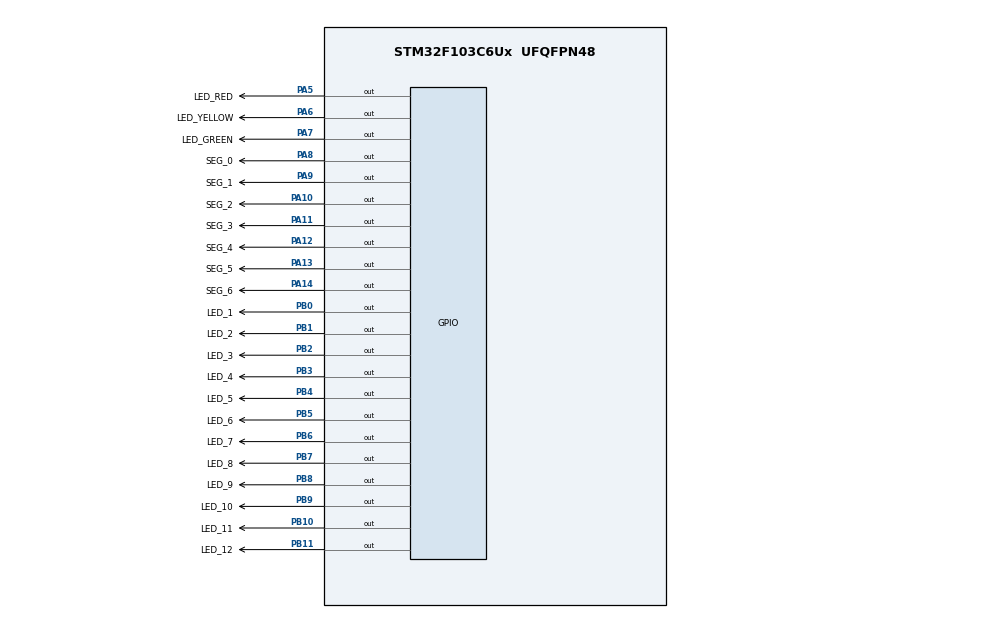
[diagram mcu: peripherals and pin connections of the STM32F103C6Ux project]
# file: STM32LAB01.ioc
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Mcu.Family=STM32F1
Mcu.Name=STM32F103C6Ux
Mcu.Package=UFQFPN48
NVIC.PriorityGroup=NVIC_PRIORITYGROUP_4
PA10.GPIO_Label=SEG_2
PA10.Signal=GPIO_Output
PA11.GPIO_Label=SEG_3
PA11.Signal=GPIO_Output
PA12.GPIO_Label=SEG_4
PA12.Signal=GPIO_Output
PA13.GPIO_Label=SEG_5
PA13.Signal=GPIO_Output
PA14.GPIO_Label=SEG_6
PA14.Signal=GPIO_Output
PA5.GPIO_Label=LED_RED
PA5.Signal=GPIO_Output
PA6.GPIO_Label=LED_YELLOW
PA6.Signal=GPIO_Output
PA7.GPIO_Label=LED_GREEN
PA7.Signal=GPIO_Output
PA8.GPIO_Label=SEG_0
PA8.Signal=GPIO_Output
PA9.GPIO_Label=SEG_1
PA9.Signal=GPIO_Output
PB0.GPIO_Label=LED_1
PB0.Signal=GPIO_Output
PB1.GPIO_Label=LED_2
PB1.Signal=GPIO_Output
PB10.GPIO_Label=LED_11
PB10.Signal=GPIO_Output
PB11.GPIO_Label=LED_12
PB11.Signal=GPIO_Output
PB2.GPIO_Label=LED_3
PB2.Signal=GPIO_Output
PB3.GPIO_Label=LED_4
PB3.Signal=GPIO_Output
PB4.GPIO_Label=LED_5
PB4.Signal=GPIO_Output
PB5.GPIO_Label=LED_6
PB5.Signal=GPIO_Output
PB6.GPIO_Label=LED_7
PB6.Signal=GPIO_Output
PB7.GPIO_Label=LED_8
PB7.Signal=GPIO_Output
PB8.GPIO_Label=LED_9
PB8.Signal=GPIO_Output
PB9.GPIO_Label=LED_10
PB9.Signal=GPIO_Output
ProjectManager.HeapSize=0x200
ProjectManager.StackSize=0x400
ProjectManager.TargetToolchain=STM32CubeIDE
RCC.APB1Freq_Value=8000000
RCC.APB2Freq_Value=8000000
VP_SYS_VS_ND.Mode=No_Debug
board=custom

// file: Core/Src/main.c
/* USER CODE BEGIN Header */
/**
  ******************************************************************************
  * @file           : main.c
  * @brief          : Main program body
  ******************************************************************************
  * @attention
  *
  * <h2><center>&copy; Copyright (c) 2024 STMicroelectronics.
  * All rights reserved.</center></h2>
  *
  * This software component is licensed by ST under BSD 3-Clause license,
  * the "License"; You may not use this file except in compliance with the
  * License. You may obtain a copy of the License at:
  *                        opensource.org/licenses/BSD-3-Clause
  *
  ******************************************************************************
  */
/* USER CODE END Header */
#include "main.h"
#include "EX8.h"

void SystemClock_Config(void);
static void MX_GPIO_Init(void);

/* USER CODE BEGIN 0 */
int counter = 0;
int num = 0;
/* USER CODE END 0 */

int main(void)
{

  /* MCU Configuration--------------------------------------------------------*/

  /* Reset of all peripherals, Initializes the Flash interface and the Systick. */
  HAL_Init();

  /* Configure the system clock */
  SystemClock_Config();

  /* Initialize all configured peripherals */
  MX_GPIO_Init();
  /* USER CODE BEGIN 2 */
  HAL_GPIO_WritePin(GPIOB, GPIO_PIN_0, RESET);		//D1
  HAL_GPIO_WritePin(GPIOB, GPIO_PIN_1, RESET);		//V1
  HAL_GPIO_WritePin(GPIOB, GPIO_PIN_2, RESET);		//X1

  HAL_GPIO_WritePin(GPIOB, GPIO_PIN_6, RESET);		//D2
  HAL_GPIO_WritePin(GPIOB, GPIO_PIN_7, RESET);		//V2
  HAL_GPIO_WritePin(GPIOB, GPIO_PIN_8, RESET);		//X2

  HAL_GPIO_WritePin(GPIOB, GPIO_PIN_3, RESET);		//D2
  HAL_GPIO_WritePin(GPIOB, GPIO_PIN_4, RESET);		//V2
  HAL_GPIO_WritePin(GPIOB, GPIO_PIN_5, RESET);		//X2

  HAL_GPIO_WritePin(GPIOB, GPIO_PIN_9, RESET);		//D1
  HAL_GPIO_WritePin(GPIOB, GPIO_PIN_10, RESET);		//V1
  HAL_GPIO_WritePin(GPIOB, GPIO_PIN_11, RESET);		//X1

  /* USER CODE END 2 */

  /* Infinite loop */
  /* USER CODE BEGIN WHILE */
  while (1)
  {
	  clearNumberOnClock(num);

    /* USER CODE END WHILE */

  }
}

void SystemClock_Config(void)
{
  RCC_OscInitTypeDef RCC_OscInitStruct = {0};
  RCC_ClkInitTypeDef RCC_ClkInitStruct = {0};

  /** Initializes the RCC Oscillators according to the specified parameters
  * in the RCC_OscInitTypeDef structure.
  */
  RCC_OscInitStruct.OscillatorType = RCC_OSCILLATORTYPE_HSI;
  RCC_OscInitStruct.HSIState = RCC_HSI_ON;
  RCC_OscInitStruct.HSICalibrationValue = RCC_HSICALIBRATION_DEFAULT;
  RCC_OscInitStruct.PLL.PLLState = RCC_PLL_NONE;
  if (HAL_RCC_OscConfig(&RCC_OscInitStruct) != HAL_OK)
  {
    Error_Handler();
  }
  /** Initializes the CPU, AHB and APB buses clocks
  */
  RCC_ClkInitStruct.ClockType = RCC_CLOCKTYPE_HCLK|RCC_CLOCKTYPE_SYSCLK
                              |RCC_CLOCKTYPE_PCLK1|RCC_CLOCKTYPE_PCLK2;
  RCC_ClkInitStruct.SYSCLKSource = RCC_SYSCLKSOURCE_HSI;
  RCC_ClkInitStruct.AHBCLKDivider = RCC_SYSCLK_DIV1;
  RCC_ClkInitStruct.APB1CLKDivider = RCC_HCLK_DIV1;
  RCC_ClkInitStruct.APB2CLKDivider = RCC_HCLK_DIV1;

  if (HAL_RCC_ClockConfig(&RCC_ClkInitStruct, FLASH_LATENCY_0) != HAL_OK)
  {
    Error_Handler();
  }
}

static void MX_GPIO_Init(void)
{
  GPIO_InitTypeDef GPIO_InitStruct = {0};

  /* GPIO Ports Clock Enable */
  __HAL_RCC_GPIOA_CLK_ENABLE();
  __HAL_RCC_GPIOB_CLK_ENABLE();

  /*Configure GPIO pin Output Level */
  HAL_GPIO_WritePin(GPIOA, LED_RED_Pin|LED_YELLOW_Pin|LED_GREEN_Pin|SEG_0_Pin
                          |SEG_1_Pin|SEG_2_Pin|SEG_3_Pin|SEG_4_Pin
                          |SEG_5_Pin|SEG_6_Pin, GPIO_PIN_RESET);

  /*Configure GPIO pin Output Level */
  HAL_GPIO_WritePin(GPIOB, LED_1_Pin|LED_2_Pin|LED_3_Pin|LED_11_Pin
                          |LED_12_Pin|LED_4_Pin|LED_5_Pin|LED_6_Pin
                          |LED_7_Pin|LED_8_Pin|LED_9_Pin|LED_10_Pin, GPIO_PIN_RESET);

  /*Configure GPIO pins : LED_RED_Pin LED_YELLOW_Pin LED_GREEN_Pin SEG_0_Pin
                           SEG_1_Pin SEG_2_Pin SEG_3_Pin SEG_4_Pin
                           SEG_5_Pin SEG_6_Pin */
  GPIO_InitStruct.Pin = LED_RED_Pin|LED_YELLOW_Pin|LED_GREEN_Pin|SEG_0_Pin
                          |SEG_1_Pin|SEG_2_Pin|SEG_3_Pin|SEG_4_Pin
                          |SEG_5_Pin|SEG_6_Pin;
  GPIO_InitStruct.Mode = GPIO_MODE_OUTPUT_PP;
  GPIO_InitStruct.Pull = GPIO_NOPULL;
  GPIO_InitStruct.Speed = GPIO_SPEED_FREQ_LOW;
  HAL_GPIO_Init(GPIOA, &GPIO_InitStruct);

  /*Configure GPIO pins : LED_1_Pin LED_2_Pin LED_3_Pin LED_11_Pin
                           LED_12_Pin LED_4_Pin LED_5_Pin LED_6_Pin
                           LED_7_Pin LED_8_Pin LED_9_Pin LED_10_Pin */
  GPIO_InitStruct.Pin = LED_1_Pin|LED_2_Pin|LED_3_Pin|LED_11_Pin
                          |LED_12_Pin|LED_4_Pin|LED_5_Pin|LED_6_Pin
                          |LED_7_Pin|LED_8_Pin|LED_9_Pin|LED_10_Pin;
  GPIO_InitStruct.Mode = GPIO_MODE_OUTPUT_PP;
  GPIO_InitStruct.Pull = GPIO_NOPULL;
  GPIO_InitStruct.Speed = GPIO_SPEED_FREQ_LOW;
  HAL_GPIO_Init(GPIOB, &GPIO_InitStruct);

}

void Error_Handler(void)
{
  __disable_irq();
  while (1)
  {
  }
}

/************************ (C) COPYRIGHT STMicroelectronics *****END OF FILE****/
